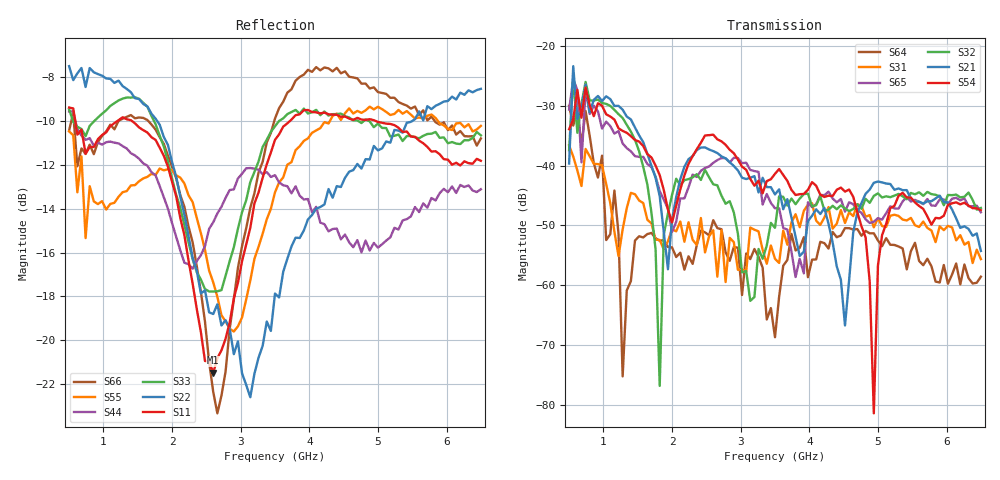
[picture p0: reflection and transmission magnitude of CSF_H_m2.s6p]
!Keysight Technologies,M9804A,MY58100912,A.14.10.03
!Date: Thursday, April 27, 2023 10:28:33
!Correction: S11(C  6-Port  )
!S12(C  6-Port  )
!S13(C  6-Port  )
!S14(C  6-Port  )
!S15(C  6-Port  )
!S16(C  6-Port  )
!S21(C  6-Port  )
!S22(C  6-Port  )
!S23(C  6-Port  )
!S24(C  6-Port  )
!S25(C  6-Port  )
!S26(C  6-Port  )
!S31(C  6-Port  )
!S32(C  6-Port  )
!S33(C  6-Port  )
!S34(C  6-Port  )
!S35(C  6-Port  )
!S36(C  6-Port  )
!S41(C  6-Port  )
!S42(C  6-Port  )
!S43(C  6-Port  )
!S44(C  6-Port  )
!S45(C  6-Port  )
!S46(C  6-Port  )
!S51(C  6-Port  )
!S52(C  6-Port  )
!S53(C  6-Port  )
!S54(C  6-Port  )
!S55(C  6-Port  )
!S56(C  6-Port  )
!S61(C  6-Port  )
!S62(C  6-Port  )
!S63(C  6-Port  )
!S64(C  6-Port  )
!S65(C  6-Port  )
!S66(C  6-Port  )
!S6P File: Measurement: :
# Hz S  RI  R 50
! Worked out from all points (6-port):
!   101 points, 500 MHz to 6.5 GHz, reference 50 ohm
!   strongest paths, dB at 500 MHz, 2 GHz, 3.5 GHz, 5 GHz, 6.5 GHz:
!     S54: -33.9, -49.5, -41.4, -56.6, -47.5
!     S21: -39.7, -48.9, -44.8, -42.7, -54.2
!     S32: -37.5, -44.9, -50.4, -44.6, -47.1
!     S65: -30.7, -51.1, -47.1, -48.8, -47.8
!     S31: -36.6, -50.6, -55.6, -48.8, -55.6
!     S64: -30.0, -53.7, -68.6, -52.5, -58.5
!   lowest |S11| = -21.5 dB at 2.6 GHz (marker M1), VSWR 1.18, Z = 42.5 + j2.18 ohm
!   |S11| at or under -10 dB: 589.3 MHz to 1.198 GHz (608.6 MHz wide, 68.1 % of centre); 1.42 GHz to 3.713 GHz (2.293 GHz wide, 89.3 % of centre); 4.976 GHz to end of sweep
